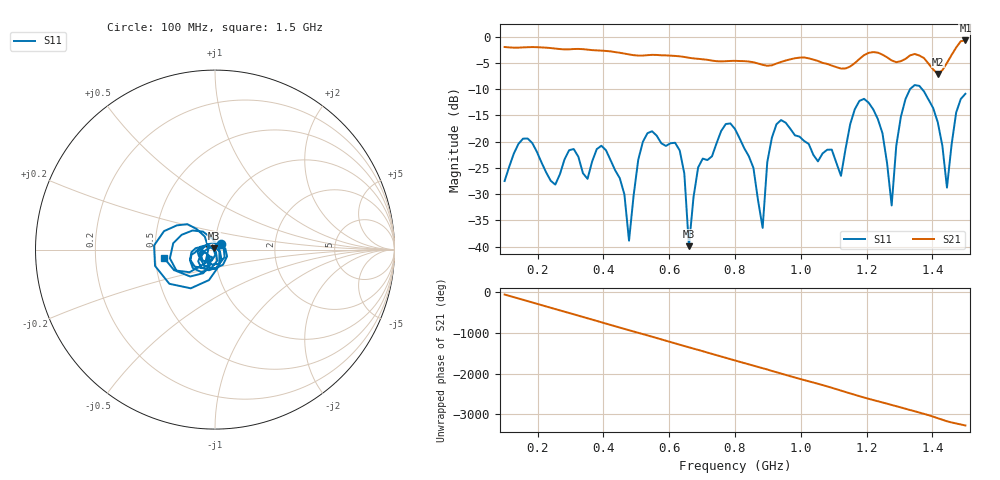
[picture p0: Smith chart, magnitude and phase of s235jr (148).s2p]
! NanoVNA-App
! Date: 2025-09-25 15:05:19
! Start: 100MHz Stop: 1,5GHz Points: 101
! S-Parameter data: F S11 S21 S12 S22
# Hz S RI R 50
!  Frequency  S11_Real  S11_Imag  S21_Real  S21_Imag  S12_Real  S12_Imag  S22_Real  S22_Imag
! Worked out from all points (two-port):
!   101 points, 100 MHz to 1.5 GHz, reference 50 ohm
!   highest |S21| = -0.72 dB at 1.5 GHz (marker M1); lowest = -7.1 dB at 1.416 GHz (marker M2)
!   |S21| within 3 dB of the highest: start of sweep to 627.9 MHz; 1.188 GHz to 1.256 GHz (68.04 MHz wide, 5.57 % of centre) (the widest 2 of 4)
!   lowest |S11| = -39.9 dB at 660 MHz (marker M3), VSWR 1.02, Z = 49.2 + j0.61 ohm
!   |S11| at or under -10 dB: start of sweep to 1.332 GHz; 1.369 GHz to end of sweep
!   S12 and S22 are empty: the file has one direction only
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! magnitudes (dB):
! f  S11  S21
! 100 MHz  -27.5  -2.0
! 156 MHz  -19.4  -2.0
! 338 MHz  -26.0  -2.4
! 408 MHz  -21.6  -2.7
! 478 MHz  -38.8  -3.4
! 520 MHz  -20.0  -3.6
! 576 MHz  -20.3  -3.5
! 632 MHz  -21.7  -3.7
! 660 MHz  -39.9  -4.0
! 688 MHz  -24.9  -4.2
! 800 MHz  -17.6  -4.6
! 884 MHz  -36.4  -5.4
! 926 MHz  -16.7  -5.1
! 1.038 GHz  -22.5  -4.4
! 1.122 GHz  -26.5  -6.1
! 1.192 GHz  -11.8  -3.5
! 1.248 GHz  -18.4  -3.4
! 1.276 GHz  -32.1  -4.5
! 1.332 GHz  -10.0  -3.6
! 1.416 GHz  -16.3  -7.1
! 1.444 GHz  -28.7  -5.0
! 1.5 GHz  -10.9  -0.7
